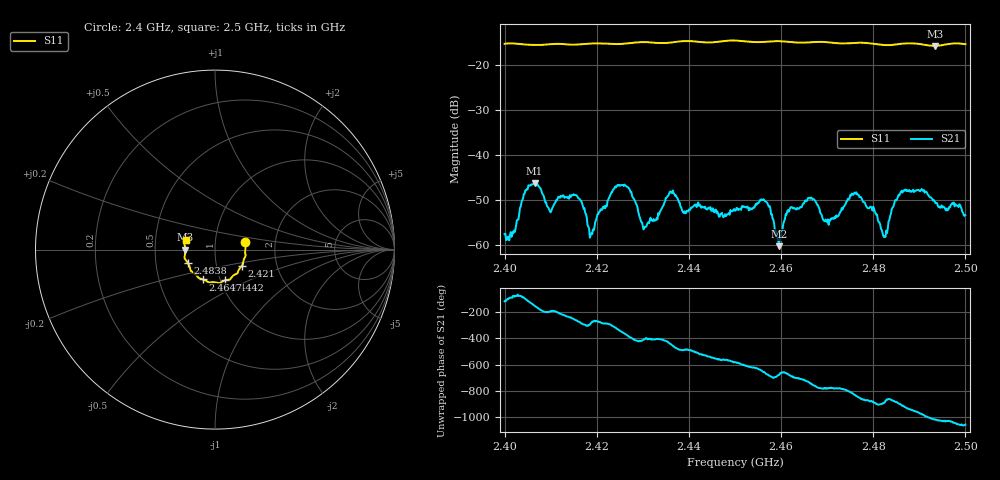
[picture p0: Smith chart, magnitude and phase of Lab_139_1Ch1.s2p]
# Hz S RI R 50
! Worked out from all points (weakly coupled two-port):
!   601 points, 2.4 GHz to 2.5 GHz, reference 50 ohm
!   highest |S21| = -46.29 dB at 2.4065 GHz (marker M1); lowest = -60.4 dB at 2.4595 GHz (marker M2)
!   lowest |S11| = -15.7 dB at 2.4933 GHz (marker M3), VSWR 1.39, Z = 35.8 + j0.0217 ohm
!   |S11| at or under -10 dB: start of sweep to end of sweep
!   S12 and S22 are empty: the file has one direction only
!   S11 on the Smith chart (normalised r, x): 2.4 GHz: 1.40, +0.12; 2.421 GHz: 1.33, -0.24; 2.4442 GHz: 1.05, -0.37; 2.4647 GHz: 0.83, -0.28; 2.4838 GHz: 0.73, -0.11; 2.5 GHz: 0.71, +0.08
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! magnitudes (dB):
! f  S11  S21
! 2.4 GHz  -15.2  -57.6
! 2.4065 GHz  -15.5  -46.3
! 2.4167 GHz  -15.3  -50.3
! 2.4188 GHz  -15.1  -57.5
! 2.421 GHz  -15.1  -52.3
! 2.4257 GHz  -15.2  -46.7
! 2.4302 GHz  -14.8  -56.6
! 2.4333 GHz  -15.0  -53.0
! 2.4362 GHz  -14.9  -48.5
! 2.4442 GHz  -14.9  -51.8
! 2.45 GHz  -14.5  -52.4
! 2.4565 GHz  -14.8  -50.4
! 2.4595 GHz  -14.6  -60.4
! 2.4647 GHz  -14.9  -51.0
! 2.4667 GHz  -14.8  -49.6
! 2.4698 GHz  -14.8  -54.7
! 2.4763 GHz  -15.0  -48.4
! 2.4833 GHz  -15.5  -54.8
! 2.4838 GHz  -15.5  -53.1
! 2.4865 GHz  -15.1  -48.0
! 2.4933 GHz  -15.7  -50.3
! 2.5 GHz  -15.3  -53.4
